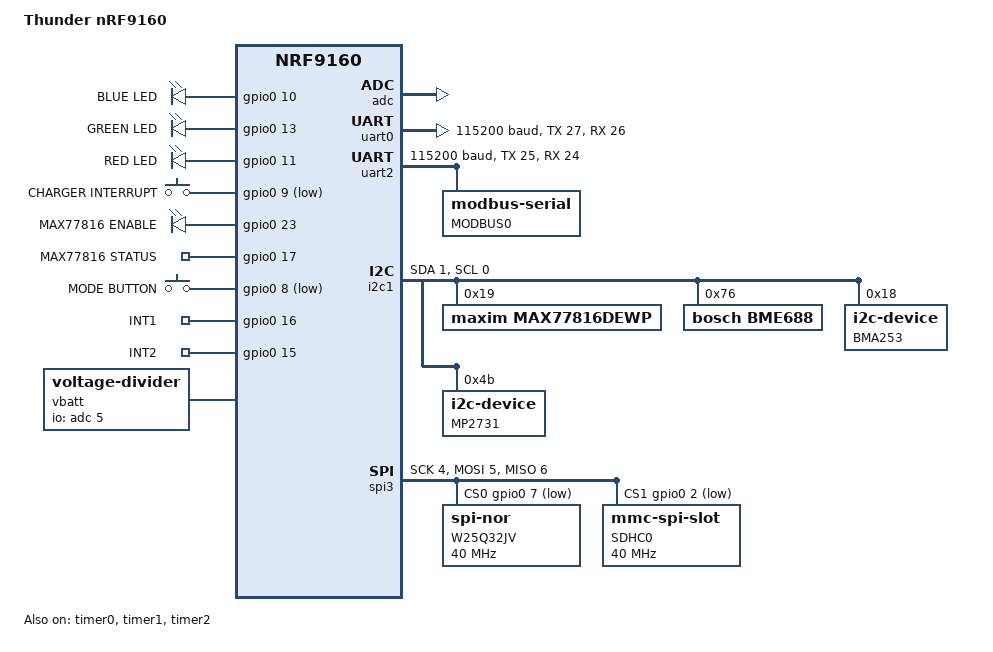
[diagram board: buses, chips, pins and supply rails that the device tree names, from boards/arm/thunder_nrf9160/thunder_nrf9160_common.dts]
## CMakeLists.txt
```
#
# Copyright (c) 2020 Nordic Semiconductor
#
# SPDX-License-Identifier: LicenseRef-Nordic-5-Clause
#

cmake_minimum_required(VERSION 3.20.0)

list(APPEND BOARD_ROOT ${CMAKE_CURRENT_SOURCE_DIR})

# MCUboot related 
# Put the pem certificate under "'your build enviroment'/bootloader/mucboot"
# i.e "/opt/nordic/ncs/v1.9.0/bootloader/mcuboot"
list(APPEND mcuboot_OVERLAY_CONFIG "${CMAKE_CURRENT_SOURCE_DIR}/mcuboot.conf")

set(CONF_FILE "${CMAKE_CURRENT_SOURCE_DIR}/prj.conf")
# Uncomment the line below when provisioning a device
#list(APPEND CONF_FILE "${CMAKE_CURRENT_SOURCE_DIR}/prj-provisioning.conf")

find_package(Zephyr REQUIRED HINTS $ENV{ZEPHYR_BASE})
project(levaware_thunder)

# NORDIC SDK APP START
target_sources(app PRIVATE src/main.c)
target_sources(app PRIVATE src/cloud.c)
target_sources(app PRIVATE src/lte_connect_mgr.c)
# NORDIC SDK APP END

zephyr_include_directories(src)

target_include_directories(app PRIVATE
    ${CMAKE_CURRENT_SOURCE_DIR}/src
    ${CMAKE_CURRENT_SOURCE_DIR}/src/subsys
    ${CMAKE_CURRENT_SOURCE_DIR}/src/device_config
    ${CMAKE_CURRENT_SOURCE_DIR}/src/sensors
    ${CMAKE_CURRENT_SOURCE_DIR}/src/power_mgr
    ${CMAKE_CURRENT_SOURCE_DIR}/src/drivers/sensor/bme688
    ${CMAKE_CURRENT_SOURCE_DIR}/src/drivers/sensor/bma253
    ${CMAKE_CURRENT_SOURCE_DIR}/src/apps
    ${CMAKE_CURRENT_SOURCE_DIR}/src/utils)

# Application directories
add_subdirectory(src/subsys)
add_subdirectory(src/prod_test)
add_subdirectory(src/device_config)
add_subdirectory(src/sensors)
add_subdirectory(src/power_mgr)
add_subdirectory(src/drivers/sensor/bme688)
add_subdirectory(src/drivers/sensor/bma253)
add_subdirectory(src/apps)
add_subdirectory(src/utils)
```

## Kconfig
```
#
# Copyright (c) 2020 Nordic Semiconductor ASA
#
# SPDX-License-Identifier: LicenseRef-Nordic-5-Clause
#

menu "Citysage Levaware Thunder Settings"

config FIRMWARE_VERSION
	string "Firmware version: v<yymmdd>.<rev>"
	default "v000000.00"

config GIT_COMMIT
	string "First 8 hex characters of the git commit hash used to build binary"
    default "NO_COMMIT"

config PUBLICATION_INTERVAL_SECONDS
	int "Interval in seconds that the app will publish data"
	default 60

config CONNECTION_RETRY_TIMEOUT_SECONDS
	int "Number of seconds between each AWS IoT connection retry"
	default 30

config TELEMETRY_PAYLOAD_BUFFER_SIZE
	int "Telemetry JSON payload buffer size"
	default 256

config FOTA_LOG_NAME
	string "Full name of FOTA log"
	default "fota.json"

config PROD_TEST
	bool "Build configuration for Production Testing"
	# default false
	select AT_HOST_LIBRARY
	select UART_INTERRUPT_DRIVEN

endmenu

rsource "src/drivers/sensor/bme688/Kconfig"
# source "C:/ncs/v1.9.0/nrf/lib/at_host/Kconfig" # or manually add env. variable for the path

menu "Zephyr Kernel"
source "Kconfig.zephyr"
endmenu
```

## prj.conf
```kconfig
#
# Copyright (c) 2020 Nordic Semiconductor ASA
#
# SPDX-License-Identifier: LicenseRef-Nordic-5-Clause
#
# General config

# Firmware version string v<major>.<minor>.<build>
# Current release is v0.200.02 but go check the latest
CONFIG_FIRMWARE_VERSION="v0.000.00"

# Enable Zephyr application to be booted by MCUboot
# MCUBOOT
CONFIG_BOOTLOADER_MCUBOOT=y
CONFIG_MCUBOOT_IMG_MANAGER=y

CONFIG_DEBUG=y
CONFIG_REBOOT=y
# RESET_ON_FATAL_ERROR is y by default if !DEBUG
CONFIG_RESET_ON_FATAL_ERROR=y
# CONFIG_DEBUG_OPTIMIZATIONS=y
# CONFIG_DEBUG_THREAD_INFO=y

# Image manager
CONFIG_IMG_MANAGER=y
CONFIG_FLASH=y
CONFIG_IMG_ERASE_PROGRESSIVELY=y

# Shell configurations
CONFIG_PRINTK=y
CONFIG_SHELL=y
CONFIG_SHELL_BACKEND_SERIAL=y
CONFIG_SHELL_MINIMAL=n
# CONFIG_SHELL_STACK_SIZE=1024
# CONFIG_USE_SEGGER_RTT=y
# CONFIG_SHELL_CMDS=y
# CONFIG_SHELL_CMDS_RESIZE=y
# CONFIG_SHELL_TAB=y
# CONFIG_SHELL_HISTORY=y

# AT Shell 
CONFIG_AT_SHELL=y
# disable * and ? wildcards for at commands
CONFIG_SHELL_WILDCARD=n

# NEWLIB C
CONFIG_NEWLIB_LIBC=y
CONFIG_NEWLIB_LIBC_FLOAT_PRINTF=y

# Modem library
CONFIG_NRF_MODEM_LIB=y

# Modem
CONFIG_MODEM_INFO=y

# AT Host
CONFIG_UART_INTERRUPT_DRIVEN=y
# CONFIG_AT_HOST_LIBRARY=y

# Modbus
CONFIG_MODBUS=y
CONFIG_MODBUS_SERIAL=y
CONFIG_MODBUS_ROLE_CLIENT=y

# Network
CONFIG_NETWORKING=y
CONFIG_NET_NATIVE=n
CONFIG_NET_SOCKETS_OFFLOAD=y
CONFIG_NET_SOCKETS=y
CONFIG_NET_SOCKETS_POSIX_NAMES=y

# LTE link control
CONFIG_LTE_LINK_CONTROL=y
CONFIG_LTE_AUTO_INIT_AND_CONNECT=n
CONFIG_LTE_NETWORK_TIMEOUT=120

# LTE Mode selection. Only Cat-M at this time. 

CONFIG_LTE_NETWORK_MODE_LTE_M=y

# Due to imature nature of NB-IoT at this time and reports from Eseye connectivity supplier, we wanted to disable NB-IoT
# However this causes challanges with the FCC and PTCRB certification process as they don't want any RATs disabled from how the 
# Nordic module was originally certified. For certification we need to re-enable NB-IoT but afterwords, we might want to disable
CONFIG_LTE_NETWORK_MODE_LTE_M_NBIOT=y
# CONFIG_LTE_NETWORK_USE_FALLBACK=y
CONFIG_LTE_MODE_PREFERENCE_LTE_M=y
# CONFIG_LTE_MODE_PREFERENCE_NBIOT=y



# Only enable bands: 2,4,12,13 This will provide coverage for the USA and Canada (Rogers, Telus, AT&T and Verizon). 
# The rational: Limiting the bands will allow the modem to find a suitable network faster the first time. 
# After running for a few days, the modem writes it's band history to NV and will remember 
# the previous bands used which shortens the registration time. We can also remove this capability if 
# are ok with long registration times for the first power up. Depending on our final unit 
# test process, removing this logic would likely increase our test times. I am putting in for now.  

# First enable modem to disable the extra/unused frequency bands.
CONFIG_LTE_LOCK_BANDS=y
# For USA/Canada market, we only need/enable bands 2, 4, 5, 12, 13 (it's a bitmask starting at Band #1 in the LSB)
# CONFIG_LTE_LOCK_BAND_MASK="1100000011010"

# To enable testing in the UK by EsEye, we think we should enable bands 1, 3, 7, 20. 
# Note: After Eseye testing is complete, we might need to disable these bands given we aren't performing CE Mark regualtory for Europe and no market
CONFIG_LTE_LOCK_BAND_MASK="10000001100001011111"

# Enable the PDP Context library. We have now added a feature in modem.c to automatically set the APN and the PDN_FAMILY 
# so we have disabled the default APN settings for Rogers OR Eseye SIM cards. 
CONFIG_PDN=y
# CONFIG_PDN_DEFAULTS_OVERRIDE=y
# CONFIG_PDN_SYS_INIT=y
# CONFIG_PDN_DEFAULT_APN="\"m2minternet.apn\""
# CONFIG_PDN_DEFAULT_APN="\"eseye1\""
# CONFIG_PDN_DEFAULT_FAM_IPV4V6=y

# SMS Configuration
CONFIG_SMS=y

CONFIG_TELEMETRY_PAYLOAD_BUFFER_SIZE=1024
CONFIG_BASE64=y

CONFIG_MQTT_LIB=y
CONFIG_MQTT_LIB_TLS=y   # For aws MQTT TLS

# AWS IoT library
CONFIG_AWS_IOT=y
CONFIG_AWS_IOT_CLIENT_ID_APP=y
CONFIG_AWS_IOT_BROKER_HOST_NAME="a1hxntjfjh5450-ats.iot.ca-central-1.amazonaws.com"
CONFIG_AWS_IOT_SEC_TAG=12345678
CONFIG_AWS_IOT_LOG_LEVEL_DBG=y
CONFIG_AWS_IOT_AUTO_DEVICE_SHADOW_REQUEST=n
CONFIG_AWS_IOT_APP_SUBSCRIPTION_LIST_COUNT=2
CONFIG_AWS_IOT_TOPIC_UPDATE_DELTA_SUBSCRIBE=y
CONFIG_AWS_IOT_LAST_WILL=y
CONFIG_AWS_IOT_TOPIC_GET_ACCEPTED_SUBSCRIBE=y
CONFIG_AWS_IOT_TOPIC_GET_REJECTED_SUBSCRIBE=y
#CONFIG_AWS_IOT_MQTT_PAYLOAD_BUFFER_LEN=2048
# CONFIG_AWS_IOT_APP_SUBSCRIPTION_LIST_COUNT=2
# CONFIG_AWS_IOT_TOPIC_UPDATE_DELTA_SUBSCRIBE=y
# CONFIG_AWS_IOT_TOPIC_UPDATE_ACCEPTED_SUBSCRIBE=y
# CONFIG_AWS_IOT_TOPIC_UPDATE_REJECTED_SUBSCRIBE=y
CONFIG_AWS_IOT_CLIENT_ID_MAX_LEN=50

# MQTT - Maximum MQTT keepalive timeout specified by AWS IoT Core
CONFIG_MQTT_KEEPALIVE=1200

CONFIG_SNTP=y

# Date Time library
CONFIG_DATE_TIME=y
CONFIG_DATE_TIME_NTP=n
CONFIG_DATE_TIME_MODEM=y

# Heap and stacks
CONFIG_HEAP_MEM_POOL_SIZE=8192
CONFIG_MAIN_STACK_SIZE=4096
CONFIG_SYSTEM_WORKQUEUE_STACK_SIZE=2048

CONFIG_FPU=y
CONFIG_FPU_SHARING=y

# AWS FOTA
CONFIG_AWS_FOTA=y
CONFIG_AWS_FOTA_DOWNLOAD_SECURITY_TAG=12345678
CONFIG_FOTA_DOWNLOAD=y
CONFIG_DFU_TARGET=y
CONFIG_DFU_TARGET_STREAM_SAVE_PROGRESS=y

# Settings
CONFIG_SETTINGS=y
CONFIG_SETTINGS_NVS=y

# Non-volatile Storage
CONFIG_NVS=y

# CJSON
CONFIG_CJSON_LIB=y

# Download client (needed by AWS FOTA)
CONFIG_DOWNLOAD_CLIENT=y
CONFIG_DOWNLOAD_CLIENT_STACK_SIZE=4096

####### THUNDER

CONFIG_THREAD_NAME=y

CONFIG_CMSIS_DSP=y
CONFIG_CMSIS_DSP_SUPPORT=y
CONFIG_CMSIS_DSP_FASTMATH=y
CONFIG_CMSIS_DSP_COMPLEXMATH=y
CONFIG_CMSIS_DSP_STATISTICS=y
CONFIG_CMSIS_DSP_TRANSFORM=y
CONFIG_CMSIS_DSP_TABLES_ALL_FFT=n
CONFIG_CMSIS_DSP_TABLES_RFFT_FAST_F32_1024=y
# CONFIG_CMSIS_DSP_TABLES_RFFT_FAST_F32_2048=y

# Filesystem
CONFIG_SPI=y
CONFIG_SPI_ASYNC=y
CONFIG_SPI_NOR=y
CONFIG_SPI_NOR_FLASH_LAYOUT_PAGE_SIZE=4096
CONFIG_DISK_ACCESS=y
CONFIG_DISK_DRIVER_SDMMC=y
CONFIG_SDMMC_OVER_SPI=y

# Enable flash operations.
CONFIG_FLASH_MAP=y
CONFIG_FLASH_PAGE_LAYOUT=y

# Enable the LittleFS file system.
CONFIG_FILE_SYSTEM=y
CONFIG_FILE_SYSTEM_LITTLEFS=y
# CONFIG_FILE_SYSTEM_SHELL=y

# Partition manager settings
CONFIG_PM_EXTERNAL_FLASH_MCUBOOT_SECONDARY=n

# logging configurations
CONFIG_LOG=y
CONFIG_LOG_DEFAULT_LEVEL=4
CONFIG_NRF_CLOUD_LOG_LEVEL_DBG=y

# logging configurations when debugging
# CONFIG_LOG_BACKEND_UART=y
CONFIG_LOG_PRINTK=y
CONFIG_LOG_MODE_IMMEDIATE=y

CONFIG_I2C=y
CONFIG_SENSOR=y

# Temp, Pressure, Humidity and gas sensor
CONFIG_BME688=y
# CONFIG_BME688_TEMP_OVER_4X=y
CONFIG_BME688_HUMIDITY_OVER_16X=y

# Accelerometer
# CONFIG_BMA280=y
# CONFIG_BMA280_TRIGGER_GLOBAL_THREAD=y
# CONFIG_BMA280_PMU_RANGE_2G=y
# # 15.63Hz
# CONFIG_BMA280_PMU_BW_2=y

# battery / VSYS
CONFIG_ADC=y

CONFIG_STATS=y
CONFIG_STATS_SHELL=y

# Zephyr Device Power Management
CONFIG_PM=y
# Required to disable default behavior of deep sleep on timeout
CONFIG_PM_DEVICE=y

# configure to Enable Modem sleep notifications
CONFIG_LTE_LC_MODEM_SLEEP_NOTIFICATIONS=y   # see if this is working


## PSM
# CONFIG_UDP_PSM_ENABLE=y
CONFIG_LTE_PSM_REQ_RPTAU="00000110"
CONFIG_LTE_PSM_REQ_RAT="00000101"

#PDM
CONFIG_NRFX_PDM=y
```

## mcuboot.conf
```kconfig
#
# File is used for secure (immutable)bootloader
#

CONFIG_BOOT_SIGNATURE_TYPE_RSA=y
CONFIG_BOOT_SIGNATURE_KEY_FILE="reliance-rsa-2048.pem"

CONFIG_PARTITION_MANAGER_ENABLED=y

# Disable Zephyr console
CONFIG_CONSOLE=n
CONFIG_UART_CONSOLE=n

# MCUBoot settings
CONFIG_BOOT_MAX_IMG_SECTORS=256

# MCUboot serial recovery
CONFIG_MCUBOOT_SERIAL=y
CONFIG_MCUBOOT_SERIAL_DIRECT_IMAGE_UPLOAD=y
CONFIG_BOOT_SERIAL_DETECT_PORT="GPIO_0"
CONFIG_BOOT_SERIAL_DETECT_PIN=8
CONFIG_BOOT_SERIAL_DETECT_PIN_VAL=0
CONFIG_BOOT_SERIAL_DETECT_DELAY=450
CONFIG_MCUBOOT_INDICATION_LED=y

# Size of mcuboot partition
CONFIG_SIZE_OPTIMIZATIONS=y
```

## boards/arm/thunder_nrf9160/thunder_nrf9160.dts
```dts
/*
 * Copyright (c) 2018-2020 Nordic Semiconductor ASA
 *
 * SPDX-License-Identifier: Apache-2.0
 */

/dts-v1/;
#include <nordic/nrf9160_sica.dtsi>
#include "thunder_nrf9160_common.dts"

/ {
	chosen {
		zephyr,sram = &sram0_s;
		zephyr,flash = &flash0;
		zephyr,code-partition = &slot0_partition;
		zephyr,sram-secure-partition = &sram0_s;
		zephyr,sram-non-secure-partition = &sram0_ns;
	};
};

&uart0 {
	status = "okay";
	current-speed = <115200>;
	tx-pin = <27>;
	rx-pin = <26>;
};
```

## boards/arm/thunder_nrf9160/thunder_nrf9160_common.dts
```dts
/*
 * Copyright (c) 2018-2020 Nordic Semiconductor ASA
 *
 * SPDX-License-Identifier: Apache-2.0
 */

/ {
	model = "Thunder nRF9160";
	compatible = "reliance,thunder-nrf9160";

	chosen {
		zephyr,console = &uart0;
		zephyr,shell-uart = &uart0;
		zephyr,uart-mcumgr = &uart0;
		nordic,pm-ext-flash = &w25q32jv;
	};

	leds {
		compatible = "gpio-leds";
		blue_led: led_0 {
			gpios = <&gpio0 10 GPIO_ACTIVE_HIGH>;
			label = "BLUE LED";
		};
		green_led: led_1 {
			gpios = <&gpio0 13 GPIO_ACTIVE_HIGH>;
			label = "GREEN LED";
		};
		red_led: led_2 {
			gpios = <&gpio0 11 GPIO_ACTIVE_HIGH>;
			label = "RED LED";
		};
	};

	
	pwr_chrg_int {
		compatible = "gpio-keys";
		pwr_chrg: int1 {
			gpios = <&gpio0 9 GPIO_ACTIVE_LOW>;
			label = "CHARGER INTERRUPT";
		};
	};

	sys_reg_en
	{
		compatible = "gpio-leds";
		max77816_en: reg_en_1 {
			gpios = <&gpio0 23 GPIO_ACTIVE_HIGH>;
			label = "MAX77816 ENABLE";
		};
	};

	sys_reg_state
	{
		compatible = "gpio-keys";
		max77816_state: reg_status_1 {
			gpios = <&gpio0 17 GPIO_ACTIVE_HIGH>;
			label = "MAX77816 STATUS";
		};	
	};


	buttons {
		compatible = "gpio-keys";
		mode_btn: button_0 {
			gpios = <&gpio0 8 GPIO_ACTIVE_LOW>;
			label = "MODE BUTTON";
		};
	};

	bma2_int_gpios {
		compatible = "gpio-keys";
		bma2_int1: int1 {
			gpios = <&gpio0 16 (GPIO_ACTIVE_HIGH | GPIO_PULL_DOWN)>;
			label = "INT1";
		};
		bma2_int2: int2 {
			gpios = <&gpio0 15 (GPIO_ACTIVE_HIGH | GPIO_PULL_DOWN)>;
			label = "INT2";
		};
	};

	/* These aliases are provided for compatibility with samples */
	aliases {
		led0 = &blue_led;
		led1 = &green_led;
		led2 = &red_led;
		sw0 = &mode_btn;
		bootloader-led0 = &blue_led;
		ext-reg-en = &max77816_en;
		ext-reg-status = &max77816_state;
	};
};

&adc {
	status = "okay";
};

&gpiote {
	status = "okay";
};

&gpio0 {
	status = "okay";
};

/*used mainly for console, shell, (optional, can use uart1 instead)AT commands*/
&uart0 {
	compatible = "nordic,nrf-uarte";
	status = "okay";
	label = "UART0";
	current-speed = <115200>;
	tx-pin = <27>;
	rx-pin = <26>;
};

/*used mainly for external sensors*/
&uart2 {
	// compatible = "nordic,nrf-uarte";
	// label = "UART2";
	status = "okay";
	current-speed = <115200>;
	tx-pin = <25>;
	rx-pin = <24>;

	modbus_rtu: modbus_rtu {
		compatible = "zephyr,modbus-serial";
		label = "MODBUS0";
	};
};

/*on-board sensors & utilities*/
/*Always set the pins to sensor i2c not to the utilities otherwise the sensor driver will fail to initialize after startup*/
&i2c1 {
	compatible = "nordic,nrf-twim";
	label = "I2C1";
	status = "okay";
	sda-pin = <1>;
	scl-pin = <0>;
	
	max77816dewp@19 {
		compatible = "maxim,max77816dewp";
		label = "MAX77816DEWP";
		reg = <0x19>;
	};

	bme688@76 {
		compatible = "bosch,bme688";
		label = "BME688";
		reg = <0x76>;
	};

	bma253: bma253@18 {
		compatible = "i2c-device";
		status = "okay";
		label = "BMA253";
		reg = <0x18>;
	};

	mp2731: mp2731@96 {
		compatible = "i2c-device";
		status = "okay";
		label = "MP2731";
		reg = <0x4B>;
	};	
};

&spi3 {
	compatible = "nordic,nrf-spim";
	label = "SPI3";
	status = "okay";
	sck-pin = <4>;
	mosi-pin = <5>;
	miso-pin = <6>;
	cs-gpios = 	< &gpio0 7 GPIO_ACTIVE_LOW >,
				< &gpio0 2 (GPIO_ACTIVE_LOW | GPIO_PULL_UP) >;
	// miso-pull-up;
	w25q32jv: w25q32jv@0 {
		compatible = "jedec,spi-nor";
		label = "W25Q32JV";
		reg = < 0 >;
		spi-max-frequency = < 40000000 >;
		size = < 0x2000000 >;
		has-dpd;
		t-enter-dpd = < 3000 >;
		t-exit-dpd = < 30000 >;
		jedec-id = [ ef 40 16  ];
	};
	sdhc0: sdhc@1 {
		compatible = "zephyr,mmc-spi-slot";
		reg = < 1 >;
		status = "okay";
		label = "SDHC0";
		spi-max-frequency = <40000000>;
	};
};

&timer0 {
	status = "okay";
};

&timer1 {
	status = "okay";
};

&timer2 {
	status = "okay";
};

&flash0 {

	partitions {
		compatible = "fixed-partitions";
		#address-cells = <1>;
		#size-cells = <1>;

		boot_partition: partition@0 {
			label = "mcuboot";
			reg = <0x00000000 0x10000>;
		};
		slot0_partition: partition@10000 {
			label = "image-0";
		};
		slot0_ns_partition: partition@40000 {
			label = "image-0-nonsecure";
		};
		slot1_partition: partition@80000 {
			label = "image-1";
		};
		slot1_ns_partition: partition@b0000 {
			label = "image-1-nonsecure";
		};
		scratch_partition: partition@f0000 {
			label = "image-scratch";
			reg = <0x000f0000 0xa000>;
		};
		storage_partition: partition@fa000 {
			label = "storage";
			reg = <0x000fa000 0x00006000>;
		};
	};
};

/ {
	reserved-memory {
		#address-cells = <1>;
		#size-cells = <1>;
		ranges;

		sram0_s: image_s@20000000 {
			/* Secure image memory */
		};

		sram0_modem: image_modem@20010000 {
			/* Modem (shared) memory */
		};

		sram0_ns: image_ns@2001A000 {
			/* Non-Secure image memory */
		};
	};
};

/ { 
	vbatt {
		compatible = "voltage-divider";
		io-channels = <&adc 5>;
		output-ohms = <100000>;
		full-ohms = <(100000 + 100000)>;
		/*power-gpios = <&gpio0 25 GPIO_ACTIVE_HIGH>;*/
	};
};


/* Include partition configuration file */
#include "thunder_nrf9160_partition_conf.dts"
```

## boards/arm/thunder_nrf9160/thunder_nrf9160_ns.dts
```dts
/*
 * Copyright (c) 2018-2020 Nordic Semiconductor ASA
 *
 * SPDX-License-Identifier: Apache-2.0
 */

/dts-v1/;
#include <nordic/nrf9160ns_sica.dtsi>
#include "thunder_nrf9160_common.dts"

/ {
	chosen {
		zephyr,flash = &flash0;
		zephyr,sram = &sram0_ns;
		zephyr,code-partition = &slot0_ns_partition;
	};
};

/* Disable UART1, because it is used by default in TF-M */
/* 
* &uart1 {
*	status = "disabled";
* };
*/
```

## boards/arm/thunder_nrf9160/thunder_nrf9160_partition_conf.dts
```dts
/*
 * Copyright (c) 2018-2020 Nordic Semiconductor ASA
 *
 * SPDX-License-Identifier: Apache-2.0
 */

/*
 * Default Flash planning for thunder_nrf9160.
 *
 * Zephyr build for nRF9160 with ARM TrustZone-M support,
 * implies building Secure and Non-Secure Zephyr images.
 *
 * Secure image will be placed, by default, in flash0
 * (or in slot0, if MCUboot is present).
 * Secure image will use sram0 for system memory.
 *
 * Non-Secure image will be placed in slot0_ns, and use
 * sram0_ns for system memory.
 *
 * Note that the Secure image only requires knowledge of
 * the beginning of the Non-Secure image (not its size).
 */

&slot0_partition {
	reg = <0x00010000 0x30000>;
};

&slot0_ns_partition {
	reg = <0x00040000 0x40000>;
};

&slot1_partition {
	reg = <0x00080000 0x30000>;
};

&slot1_ns_partition {
	reg = <0x000b0000 0x40000>;
};

/* Default SRAM planning when building for nRF9160 with
 * ARM TrustZone-M support
 * - Lowest 88 kB SRAM allocated to Secure image (sram0_s).
 * - 40 kB SRAM reserved for and used by the modem library
 *   (sram0_modem). This memory is Non-Secure.
 * - Upper 128 kB allocated to Non-Secure image (sram0_ns).
 *   When building with TF-M, both sram0_modem and sram0_ns
 *   are allocated to the Non-Secure image.
 */

&sram0_s {
	reg = <0x20000000 DT_SIZE_K(64)>;
};

&sram0_modem {
	reg = <0x20010000 DT_SIZE_K(40)>;
};

&sram0_ns {
	reg = <0x2001A000 DT_SIZE_K(152)>;
};
```

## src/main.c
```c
/*
 * Copyright (c) 2020 Nordic Semiconductor ASA
 *
 * SPDX-License-Identifier: LicenseRef-Nordic-5-Clause
 */


#include <zephyr.h>
#include <stdio.h>
#include <stdlib.h>
#include <modem/lte_lc.h>
#include <modem/nrf_modem_lib.h>
#include <modem/modem_info.h>
#include <nrf_modem.h>
#include <net/aws_iot.h>
#include <sys/reboot.h>
#include <date_time.h>
#include <dfu/mcuboot.h>
#include <cJSON.h>
#include <cJSON_os.h>


#include <logging/log.h>
LOG_MODULE_REGISTER(main);

#include "cloud.h"
#include "apps/apps.h"
#include "apps/audio.h"
#include "device_config/device_config.h"
#include "subsys/filesystem.h"
#include "sensors/onboard_sensor.h"
#include "subsys/led.h"
#include "power_mgr/power_mgr.h"
#include "sensors/battery.h"
#include "subsys/modem.h"
#include "drivers/sensor.h"
#include "onboard_sensor.h"

void main(void)
{
	int err;
	// bool forced_sleep;

	LOG_WRN("Levaware Thunder started, version: %s", device_config_get_fw_version_str());

	onboard_sensor_init();
    led_init();
	led_set_state(BLUE_LED, LED_OFF);

	cJSON_Init();
	init_lfs(true);
	device_config_init();
	
	// this will wait until LTE connects
	err = cloud_start();
	if (err != 0) 
	{
		// what else could be done?
		LOG_ERR("cloud_start failed: error = %d. Rebooting in 10 seconds...", err);
		k_msleep(10000);
		sys_reboot(SYS_REBOOT_COLD);
	}

	// start application threads
	apps_start();

	while(1)
	{	
		
		k_msleep(100);

		// // thread_analyzer_print();
		// if (device_config_get_int16(DEV_CONFIG_APP_TYPE) == AUDIO)
		// {
		// 	forced_sleep = false;
		// }
		// else
		// {
		// 	forced_sleep = power_mgr_is_max_uptime(&awake_timer); 
		// }

		// if ((k_sem_take(&app_sem, K_MSEC(50)) == 0))
		// {

		// 	LOG_DBG("About to enter deep sleep");

		// 	power_mgr_set_device_state(POWER_STATE_SLEEP);

		// 	// TODO: Add support for other application type, currently this only works for BINs
		// 	k_timer_start(&sleep_timer, K_SECONDS(unix_time_get_next_alarm_s(device_config_get_int16(DEV_CONFIG_DAQ_INTERVAL_S))), K_NO_WAIT);

		// 	if (k_sem_take(&wakeup_sem, K_SECONDS(device_config_get_int16(DEV_CONFIG_DAQ_INTERVAL_S) + 10)) != 0)
		// 	{
		// 		LOG_ERR("Sleep timer did not generate interrupt");
				
		// 		uint8_t delay = 100;
		// 		while(delay-- > 0)
		// 		{
		// 			// toggle led from bit 0 in delay counter
		// 			led_set_state(GREEN_LED, (delay & 0x01));
		// 			k_msleep(250);
		// 		}
		// 		sys_reboot(SYS_REBOOT_WARM);
		// 	}

		// 	power_mgr_set_device_state(POWER_STATE_AWAKE);

		// 	// TODO: add support for other application type
		// 	k_sem_give(&daq_sem);
		// }

	}
	
}
```

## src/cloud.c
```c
/*
 * Copyright (c) 2022 Reliance Foundry Co. Ltd.
 *
 * This module should really be refactored with the lte_connectiton manager.
 * The LTE and AWS handling should become stateful and the JSON logic seperated out into another module. 
 *
 */

#include <zephyr.h>
#include <stdio.h>
#include <stdlib.h>
#include <modem/lte_lc.h>
#include <modem/nrf_modem_lib.h>
#include <modem/modem_info.h>
#include <nrf_modem.h>
#include <date_time.h>
#include <net/aws_iot.h>
#include <sys/reboot.h>
#include "sys/base64.h"


#include <dfu/mcuboot.h>
#include <cJSON.h>
#include <cJSON_os.h>

#include <string.h>
extern char *strtok_r(char *, const char *, char **);

#include <logging/log.h>
LOG_MODULE_REGISTER(cloud);

#include "cloud.h"
#include "lte_connect_mgr.h"
#include "apps/apps.h"
#include "apps/audio.h"
#include "apps/distance.h"
#include "device_config/device_config.h"
#include "sensors/onboard_sensor.h"
#include "sensors/battery.h"
#include "subsys/modem.h"
#include "cs_json.h"

static struct k_work_delayable shadow_update_work;
static struct k_work_delayable connect_work;
static struct k_work shadow_update_version_work;

//this list stores all the callback fucntions to the apps
static struct _slist shadow_update_list;

// struct to the notification block, handles all the data of the list and callback fucntions
static struct shadow_notification_blk *nblkp;

struct aws_iot_config aws_iot;

static bool cloud_connected = false;

K_SEM_DEFINE(shadow_received, 0, 1);

char json_payload[CONFIG_TELEMETRY_PAYLOAD_BUFFER_SIZE];

/* 
* @brief    Global interface function: Called from lte_connection_mgr to inform cloud module that
*			LTE modem connection has changed state (up or down)  
*
* @param    bool - true means LTE up, false means LTE down 
*
* @return   nothing
*
* @note     
*/
void lte_connection_change(bool lte_up)

{
	if (lte_up)
	{
		// kick the cloud connection worker thread to process now and bring up AWS link, don't bother waiting
		k_work_schedule(&connect_work, K_NO_WAIT);
	}

	else 
	{

		LOG_INF("LTE PDP context is down, disconnecting from AWS to clean up");

		// lost the LTE network registration, cloud is not connected
		cloud_connected = false;

		// and call the aws disconnect function to clean up after a loss of connection. See
		// asset_tracker sample application for an example/discussion 
		aws_iot_disconnect();

		// Note: the cloud connection worker thread will be kicked to run once LTE modem is back up
	}

}



static int json_add_obj(cJSON *parent, const char *str, cJSON *item)
{
    cJSON_AddItemToObject(parent, str, item);

    return 0;
}

static int json_add_str(cJSON *parent, const char *str, const char *item)
{
    cJSON *json_str;

    json_str = cJSON_CreateString(item);
    if (json_str == NULL) {
        return -ENOMEM;
    }

    return json_add_obj(parent, str, json_str);
}

static int json_add_number(cJSON *parent, const char *str, double item)
{
    cJSON *json_num;

    json_num = cJSON_CreateNumber(item);
    if (json_num == NULL) {
        return -ENOMEM;
    }

    return json_add_obj(parent, str, json_num);
}

static void date_time_event_handler(const struct date_time_evt *evt)
{
    switch (evt->type) {
    case DATE_TIME_OBTAINED_MODEM:
        LOG_INF("DATE_TIME_OBTAINED_MODEM");
        break;
    case DATE_TIME_OBTAINED_NTP:
        LOG_WRN("DATE_TIME_OBTAINED_NTP");
        break;
    case DATE_TIME_OBTAINED_EXT:
        LOG_WRN("DATE_TIME_OBTAINED_EXT");
        break;
    case DATE_TIME_NOT_OBTAINED:
        LOG_ERR("DATE_TIME_NOT_OBTAINED");
        break;
    default:
        break;
    }
}

static int shadow_get(void)
{
    struct aws_iot_data tx_data = {
        .qos = MQTT_QOS_1_AT_LEAST_ONCE,
        .topic.type = AWS_IOT_SHADOW_TOPIC_GET,
        .ptr = "",
        .len = 0
    };

    int err = aws_iot_send(&tx_data);
    if (err) {
        LOG_ERR("aws_iot_send, error: %d", err);
    }

    return err;
}

static int shadow_update(bool version_number_include)
{
    static int64_t prev_ts = 0;

    int err;
    char *message;
    int64_t message_ts = 0;

    err = date_time_now(&message_ts);
    if (err || message_ts <= prev_ts) {
        LOG_ERR("date_time_now, error: %d", err);
        // try to update time for next attempt - timestamp error detection and correction handled
        // in cloud so we can keep bad timestamps for a period of time if necessary
        date_time_update_async(date_time_event_handler);
        // return err;
    }

    prev_ts = message_ts;

    cJSON *root_obj = cJSON_CreateObject();
    cJSON *state_obj = cJSON_CreateObject();
    cJSON *reported_obj = cJSON_CreateObject();
    cJSON *attributes_obj = cJSON_CreateObject();

    if (root_obj == NULL || state_obj == NULL || reported_obj == NULL || attributes_obj == NULL) {
        cJSON_Delete(root_obj);
        cJSON_Delete(state_obj);
        cJSON_Delete(reported_obj);
        cJSON_Delete(attributes_obj);
        err = -ENOMEM;
        return err;
    }

    if (version_number_include) {
        err = json_add_str(reported_obj, "fw_version", device_config_get_fw_version_str());
    } else {
        err = 0;
    }

    err += json_add_number(reported_obj, "ts", message_ts);

    int16_t batt_mv = sensor_get_battery_mV();
    err += json_add_number(reported_obj, "batt_mv", batt_mv);
    // use batt_mv to calc soc
    err += json_add_number(reported_obj, "batt_pct", sensor_get_battery_soc(batt_mv));

    // using the shadow service version number for both version fields
    err += json_add_number(reported_obj, "version", device_config_get_int(DEV_CONFIG_CONF_VERSION));
    // err += json_add_number(attributes_obj, "config_version", device_config_get_int(DEV_CONFIG_CONF_VERSION));
    err += json_add_str(reported_obj, "iccid", device_config_get_str(DEV_CONFIG_ICCID));
    err += json_add_number(attributes_obj, "config_interval_s", device_config_get_int16(DEV_CONFIG_CONF_UPDATE_INTERVAL_S));
    err += json_add_number(attributes_obj, "daq_interval_s", device_config_get_int16(DEV_CONFIG_DAQ_INTERVAL_S));
    err += json_add_number(attributes_obj, "pub_interval_s", device_config_get_int16(DEV_CONFIG_PUB_INTERVAL_S));
    err += json_add_number(attributes_obj, "sensor_type", device_config_get_int16(DEV_CONFIG_SENSOR_TYPE));
    err += json_add_number(attributes_obj, "app_type", device_config_get_int16(DEV_CONFIG_APP_TYPE));
    err += json_add_str(attributes_obj, "topic", device_config_get_str(DEV_CONFIG_PUB_TOPIC));

    err += json_add_obj(reported_obj, "attributes", attributes_obj);
    err += json_add_obj(state_obj, "reported", reported_obj);
    err += json_add_obj(root_obj, "state", state_obj);

    if (err) {
        LOG_ERR("json_add, error: %d", err);
        goto cleanup;
    }

    message = cJSON_PrintUnformatted(root_obj);
    if (message == NULL) {
        LOG_ERR("cJSON_Print, error: returned NULL");
        err = -ENOMEM;
        goto cleanup;
    }

    struct aws_iot_data tx_data = {
        .qos = MQTT_QOS_1_AT_LEAST_ONCE,
        .topic.type = AWS_IOT_SHADOW_TOPIC_UPDATE,
        .ptr = message,
        .len = strlen(message)
    };

    LOG_DBG("Publishing: %s to AWS IoT broker", message);

    err = aws_iot_send(&tx_data);
    if (err) {
        LOG_ERR("aws_iot_send, error: %d", err);
    }

    //A node to be used for cycling through all apps after a shadow update
    struct _snode* nodep;
    

    // run thru the list of registered notification functions to signal that a change in the shadow has occurred
    nodep = sys_slist_peek_head(&shadow_update_list);
    while (nodep != NULL) {

        nblkp = (struct shadow_notification_blk *)nodep;
        LOG_DBG("Shadow updated, notifying apps to check for updates");

        nblkp->notification_callback_fn((nblkp->userp));

        nodep = sys_slist_peek_next(nodep);
    }

    cJSON_FreeString(message);

cleanup:
    cJSON_Delete(root_obj);
    return err;
}


static void connect_work_fn(struct k_work *work)
{
    int err;

    if (cloud_connected) {
        return;
    }

	/*
	 * We aren't connected to the cloud, if the LTE link is up, let's try
	 */
	if (lte_check_pdp_context())
	{
        LOG_DBG("Link up, calling aws_iot_connect to bring up session");

		// now that LTE modem is registered on the network, try to bring up AWS session
		err = aws_iot_connect(&aws_iot);
		if (err) {
			LOG_ERR("aws_iot_connect, error: %d", err);
		}

		LOG_DBG("Next connection retry in %d seconds", CONFIG_CONNECTION_RETRY_TIMEOUT_SECONDS);
		k_work_schedule(&connect_work, K_SECONDS(CONFIG_CONNECTION_RETRY_TIMEOUT_SECONDS));
	}

	// else LTE link is not up (no pdp context), when it comes up, the cloud module will
	// get called and kick this worker thread to try again 

}

static void shadow_update_work_fn(struct k_work *work)
{
    int err;

	if (!cloud_connected) {
		return;				// TODO - do we need to reschedule here?
	}

    err = shadow_get();
    if (err == 0)
    {
        // wait for shadow handler to run
        if (k_sem_take(&shadow_received, K_SECONDS(10)) == 0)
        {
            err = shadow_update(false);
            if (err)
            {
                printk("shadow_update, error: %d", err);
            }
        }
        else
        {   
            LOG_ERR("Shadow GET request timed out");
        }
    }

    int next_shadow_update_s = device_config_get_int16(DEV_CONFIG_CONF_UPDATE_INTERVAL_S);
    LOG_DBG("Next shadow update in %d seconds", next_shadow_update_s);

    k_work_schedule(&shadow_update_work, K_SECONDS(next_shadow_update_s));

    // update date_time on every config interval - library default is to do this automatically every 4 hours, but we seem to lose the timestamp sometimes
    date_time_update_async(date_time_event_handler);
}

static void shadow_update_version_work_fn(struct k_work *work)
{
    int err;

    err = shadow_update(true);
    if (err) {
        LOG_ERR("shadow_update, error: %d", err);
    }
}

// static void print_received_data(const char *buf, const char *topic,
// 				size_t topic_len)
// {
// 	char *str = NULL;
// 	cJSON *root_obj = NULL;

// 	root_obj = cJSON_Parse(buf);
// 	if (root_obj == NULL) {
// 		LOG_ERR("cJSON Parse failure");
// 		return;
// 	}

// 	str = cJSON_Print(root_obj);
// 	if (str == NULL) {
// 		LOG_ERR("Failed to print JSON object");
// 		goto clean_exit;
// 	}

// 	LOG_DBG("Data received from AWS IoT console:\nTopic: %.*s\nMessage: %s",
// 	       topic_len, topic, str);

// 	cJSON_FreeString(str);

// clean_exit:
// 	cJSON_Delete(root_obj);
// }

void aws_iot_event_handler(const struct aws_iot_evt *const evt)
{
    switch (evt->type) {
    case AWS_IOT_EVT_CONNECTING:
        LOG_INF("AWS_IOT_EVT_CONNECTING");
        break;
    case AWS_IOT_EVT_CONNECTED:
        LOG_INF("AWS_IOT_EVT_CONNECTED");

        cloud_connected = true;

        /*
        *   Given we have connected to AWS,  LTE connection manager that application connectivity is up. 
        *   This was added to help track/recover from connectivity issues issue in the field.  
        */
        lte_application_conn_up(true);


        /* This may fail if the work item is already being processed,
         * but in such case, the next time the work handler is executed,
         * it will exit after checking the above flag and the work will
         * not be scheduled again.
         */
        (void)k_work_cancel_delayable(&connect_work);

        if (evt->data.persistent_session) {
            LOG_INF("Persistent session enabled");
        }

        /** Successfully connected to AWS IoT broker, mark image as
         *  working to avoid reverting to the former image upon reboot.
         */
        boot_write_img_confirmed();

        /** Send version number to AWS IoT broker to verify that the
         *  FOTA update worked.
         */
        k_work_submit(&shadow_update_version_work);

        /// @brief Start sequential shadow data updates.
        /// @param evt
        k_work_schedule(&shadow_update_work, K_NO_WAIT);

        int err = lte_lc_psm_req(true);
        if (err) {
            LOG_ERR("Requesting PSM failed, error: %d", err);
        }
        break;
    case AWS_IOT_EVT_READY:
        LOG_INF("AWS_IOT_EVT_READY");
        break;
    case AWS_IOT_EVT_DISCONNECTED:
        LOG_INF("AWS_IOT_EVT_DISCONNECTED");
        cloud_connected = false;
        /* This may fail if the work item is already being processed,
         * but in such case, the next time the work handler is executed,
         * it will exit after checking the above flag and the work will
         * not be scheduled again.
         */
        (void)k_work_cancel_delayable(&shadow_update_work);
        k_work_schedule(&connect_work, K_SECONDS(CONFIG_CONNECTION_RETRY_TIMEOUT_SECONDS));
        break;
    case AWS_IOT_EVT_DATA_RECEIVED:
        LOG_INF("AWS_IOT_EVT_DATA_RECEIVED");

        printk("Data received from AWS IoT console:\r\nTopic: %.*s\r\nMessage[len: %d]: %s\r\n",
                       evt->data.msg.topic.len,
                    evt->data.msg.topic.str,
                    evt->data.msg.len,
                    evt->data.msg.ptr);

        // for now we are only expecting shadow data for processing, but this will have to be
        // changed to handle different types of data
        device_config_shadow_data_handler(evt->data.msg.ptr, evt->data.msg.len);
        k_sem_give(&shadow_received);

        // when this occurs async from a sub event, we need to send the updated state back to the shadow,
        // otherwise, the delta state will stay in the shadow until reported is updated on next config interval
        // and will be processed again, needlesly
        k_work_submit(&shadow_update_version_work);
        break;
    case AWS_IOT_EVT_FOTA_START:
        LOG_WRN("AWS_IOT_EVT_FOTA_START");
        break;
    case AWS_IOT_EVT_FOTA_ERASE_PENDING:
        LOG_WRN("AWS_IOT_EVT_FOTA_ERASE_PENDING");
        LOG_WRN("Disconnect LTE link or reboot");
        err = lte_lc_offline();
        if (err) {
            LOG_ERR("Error disconnecting from LTE");
        }
        break;
    case AWS_IOT_EVT_FOTA_ERASE_DONE:
        LOG_WRN("AWS_FOTA_EVT_ERASE_DONE");
        LOG_WRN("Reconnecting the LTE link");
        err = lte_lc_connect();
        if (err) {
            LOG_ERR("Error connecting to LTE");
        }
        break;
    case AWS_IOT_EVT_FOTA_DONE:
        LOG_WRN("AWS_IOT_EVT_FOTA_DONE");
        LOG_WRN("FOTA done, rebooting device");
        aws_iot_disconnect();
        sys_reboot(0);
        break;
    case AWS_IOT_EVT_FOTA_DL_PROGRESS:
        LOG_WRN("AWS_IOT_EVT_FOTA_DL_PROGRESS, (%d%%)",
               evt->data.fota_progress);
    case AWS_IOT_EVT_ERROR:
        LOG_ERR("AWS_IOT_EVT_ERROR, %d", evt->data.err);
        break;
    case AWS_IOT_EVT_FOTA_ERROR:
        LOG_ERR("AWS_IOT_EVT_FOTA_ERROR");
        break;
    default:
        LOG_ERR("Unknown AWS IoT event type: %d", evt->type);
        break;
    }
}


static void nrf_modem_lib_dfu_handler(void)
{
    int err;

    err = nrf_modem_lib_get_init_ret();

    switch (err) {
    case MODEM_DFU_RESULT_OK:
        LOG_WRN("Modem update suceeded, reboot");
        sys_reboot(SYS_REBOOT_COLD);
        break;
    case MODEM_DFU_RESULT_UUID_ERROR:
    case MODEM_DFU_RESULT_AUTH_ERROR:
        LOG_ERR("Modem update failed, error: %d", err);
        LOG_WRN("Modem will use old firmware");
        sys_reboot(SYS_REBOOT_COLD);
        break;
    case MODEM_DFU_RESULT_HARDWARE_ERROR:
    case MODEM_DFU_RESULT_INTERNAL_ERROR:
        LOG_ERR("Modem update malfunction, error: %d, reboot", err);
        sys_reboot(SYS_REBOOT_COLD);
        break;
    default:
        break;
    }
}

// static int app_topics_subscribe(char *serial_number)
// {
// 	int err;
// 	static char dt_topic[75];
// 	snprintk(dt_topic, 75,  "dt/%s", serial_number);

// 	const struct aws_iot_topic_data topics_list[APP_TOPICS_COUNT] = {
// 		[0].str = dt_topic,
// 		[0].len = strlen(dt_topic)
// 	};

// 	err = aws_iot_subscription_topics_add(topics_list,
// 					      ARRAY_SIZE(topics_list));
// 	if (err) {
// 		LOG_ERR("aws_iot_subscription_topics_add, error: %d", err);
// 	}

// 	return err;
// }

static void work_init(void)
{
    k_work_init_delayable(&shadow_update_work, shadow_update_work_fn);
    k_work_init_delayable(&connect_work, connect_work_fn);
    k_work_init(&shadow_update_version_work, shadow_update_version_work_fn);
}

int cloud_start(void)
{
    int err;

    nrf_modem_lib_dfu_handler();

    size_t ser_len = strlen(device_config_get_serial_number());
    aws_iot.client_id_len = ser_len;
    aws_iot.client_id = malloc(sizeof(char) * (ser_len + 1));
    strcpy(aws_iot.client_id, device_config_get_serial_number());

    err = aws_iot_init(&aws_iot, aws_iot_event_handler);
    if (err) {
        LOG_ERR("AWS IoT library could not be initialized, error: %d", err);
        return err;
    }

    // /** Subscribe to customizable non-shadow specific topics
    //  *  to AWS IoT backend.
    //  */
    // err = app_topics_subscribe("00000000-0000-0000-0000-000000000000");
    // if (err) {
    // 	LOG_ERR("Adding application specific topics failed, error: %d", err);
    // }

    // start app work tasks
    work_init();

	// TODO - determine if should be moved before AWS iot init
	// initialize and start the modem, it blocks block until a connection made
	lte_connect_init();

	date_time_update_async(date_time_event_handler);
	k_work_schedule(&connect_work, K_NO_WAIT);

    return 0;
}

void cloud_send_json_str(char *topic, char *json_str)
{
    struct aws_iot_data tx_data = {
        .qos = MQTT_QOS_1_AT_LEAST_ONCE,
        .topic.str = topic,
        .topic.len = strlen(topic),
        .ptr = json_str,
        .len = strlen(json_str)
    };

    // only send to cloud if it's connected
    if (cloud_connected)
    {
        int err = aws_iot_send(&tx_data);
        if (err)
            LOG_ERR("aws_iot_send, error: %d", err);
    }

    // cloud is not connected, do a health check of the modem
    else
    {
      	// TODO: handle store-forward
		LOG_WRN("telemetry update failed -> cloud not connected!");

		// notify LTE connection manager that connectivity is down and potentially in a bad state and recover
		lte_application_conn_up(false);

    }

}

/** 
* @brief   Registers the notification callback functions for applications that want to be  notified on changes to the shadow. 
*
* @param    struct shadow_notification_blk              *nblk_ptr
*           notification_callback_fn                    callback
            void                                    *userp
*
* @return  nothing
*
* @note    This function registers all the callback functions to be called whhen a shadow change occurs and feeds them into a singly linked list
*/

void cloud_register_shadow_change(struct shadow_notification_blk *nblk_ptr, void (*notification_callback_fn)(void *userp), void *userp)
{
    
    //point to the callback fucntion
    nblk_ptr->notification_callback_fn = notification_callback_fn;

    nblk_ptr->userp = userp;
    
    // add the node to the list
    sys_slist_append(&shadow_update_list, &(nblk_ptr->node)); 

}
```

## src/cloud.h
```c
#ifndef CLOUD_H_
#define CLOUD_H_

#include <zephyr.h>
#include "apps.h"
#include "device_config/device_config.h"

int cloud_start(void);
void cloud_send_json_str(char *topic, char *json_str);
void lte_connection_change(bool lte_up);

struct shadow_notification_blk {
    struct _snode node;             // linked list node to place on notification chain
    void (*notification_callback_fn) (void *userp); // shadow notification callback function pointer
    void *userp;                    // callers parameter, callback function will be called with this pointer
};


void cloud_register_shadow_change(struct shadow_notification_blk *cblk, void (*notification_callback_fn)(void *userp), void *userp);


#endif // CLOUD_H_
```

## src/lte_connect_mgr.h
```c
#ifndef LTECONN_H_
#define LTECONN_H_

int lte_connect_init(void);
bool lte_check_pdp_context(void);
void  lte_application_conn_up(bool aws_up);

void lte_stats_print(void);
void lte_stats_clear(void);


#endif /* LTECONN_H_*/
```
